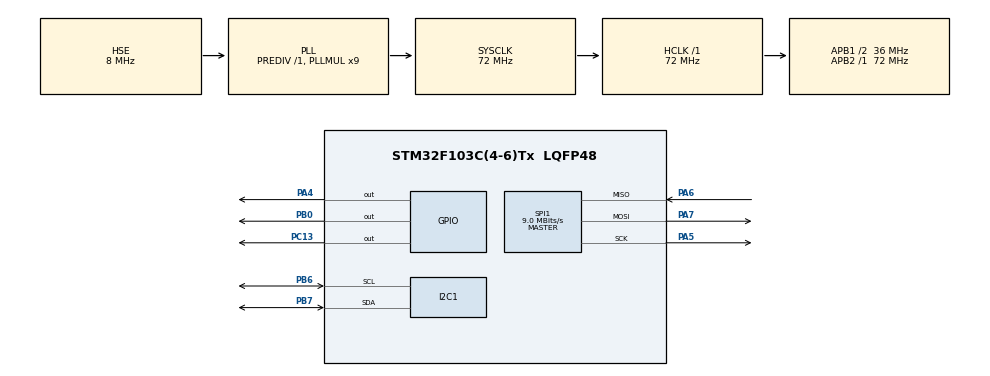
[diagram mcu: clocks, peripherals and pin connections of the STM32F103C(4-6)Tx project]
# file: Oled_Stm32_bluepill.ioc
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I2C1.I2C_Mode=I2C_Fast
Mcu.Family=STM32F1
Mcu.Name=STM32F103C(4-6)Tx
Mcu.Package=LQFP48
NVIC.PriorityGroup=NVIC_PRIORITYGROUP_4
PA13.Mode=Serial_Wire
PA13.Signal=SYS_JTMS-SWDIO
PA14.Mode=Serial_Wire
PA14.Signal=SYS_JTCK-SWCLK
PA4.Signal=GPIO_Output
PA5.Mode=Full_Duplex_Master
PA5.Signal=SPI1_SCK
PA6.Mode=Full_Duplex_Master
PA6.Signal=SPI1_MISO
PA7.Mode=Full_Duplex_Master
PA7.Signal=SPI1_MOSI
PB0.Signal=GPIO_Output
PB6.Mode=I2C
PB6.Signal=I2C1_SCL
PB7.Mode=I2C
PB7.Signal=I2C1_SDA
PC13-TAMPER-RTC.Signal=GPIO_Output
PD0-OSC_IN.Mode=HSE-External-Oscillator
PD0-OSC_IN.Signal=RCC_OSC_IN
PD1-OSC_OUT.Mode=HSE-External-Oscillator
PD1-OSC_OUT.Signal=RCC_OSC_OUT
ProjectManager.HeapSize=0x200
ProjectManager.StackSize=0x400
ProjectManager.TargetToolchain=STM32CubeIDE
RCC.AHBFreq_Value=72000000
RCC.APB1CLKDivider=RCC_HCLK_DIV2
RCC.APB1Freq_Value=36000000
RCC.APB1TimFreq_Value=72000000
RCC.APB2Freq_Value=72000000
RCC.APB2TimFreq_Value=72000000
RCC.HCLKFreq_Value=72000000
RCC.PLLMUL=RCC_PLL_MUL9
RCC.PLLSourceVirtual=RCC_PLLSOURCE_HSE
RCC.SYSCLKFreq_VALUE=72000000
RCC.SYSCLKSource=RCC_SYSCLKSOURCE_PLLCLK
RCC.USBFreq_Value=72000000
SPI1.BaudRatePrescaler=SPI_BAUDRATEPRESCALER_8
SPI1.CalculateBaudRate=9.0 MBits/s
SPI1.Direction=SPI_DIRECTION_2LINES
SPI1.Mode=SPI_MODE_MASTER
SPI1.VirtualType=VM_MASTER
board=custom

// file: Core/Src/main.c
/* USER CODE BEGIN Header */
/**
  ******************************************************************************
  * @file           : main.c
  * @brief          : Main program body
  ******************************************************************************
  * @attention
  *
  * Copyright (c) 2024 STMicroelectronics.
  * All rights reserved.
  *
  * This software is licensed under terms that can be found in the LICENSE file
  * in the root directory of this software component.
  * If no LICENSE file comes with this software, it is provided AS-IS.
  *
  ******************************************************************************
  */
/* USER CODE END Header */
#include "main.h"

/* USER CODE BEGIN Includes */
#include "rc522.h"
#include "string.h"

#include "ssd1306.h"
#include "fonts.h"
#include "stdio.h"
#include "bitmap.h"

/* USER CODE END Includes */

I2C_HandleTypeDef hi2c1;

SPI_HandleTypeDef hspi1;

/* USER CODE BEGIN PV */
uint8_t status;
uint8_t str[MAX_LEN]; // Max_LEN = 16
uint8_t sNum[5];
/* USER CODE END PV */

void SystemClock_Config(void);
static void MX_GPIO_Init(void);
static void MX_I2C1_Init(void);
static void MX_SPI1_Init(void);

int main(void)
{

  /* MCU Configuration--------------------------------------------------------*/

  /* Reset of all peripherals, Initializes the Flash interface and the Systick. */
  HAL_Init();

  /* Configure the system clock */
  SystemClock_Config();

  /* Initialize all configured peripherals */
  MX_GPIO_Init();
  MX_I2C1_Init();
  MX_SPI1_Init();
  /* USER CODE BEGIN 2 */
  	MFRC522_Init();

	SSD1306_Init (); // initialise the display
	SSD1306_GotoXY (10,10); // goto 10, 10
	SSD1306_Puts ("HELLO", &Font_11x18, 1); // print Hello
	SSD1306_GotoXY (10, 28);
	SSD1306_Puts ("Locker", &Font_11x18, 1);
	SSD1306_GotoXY (10, 45);
	SSD1306_Puts ("Allotment", &Font_11x18, 1);
    SSD1306_UpdateScreen(); // update screen
    HAL_Delay(2000);

    SSD1306_Clear();
    SSD1306_UpdateScreen(); // update screen

Label1:
    SSD1306_GotoXY (10, 10);
	SSD1306_Puts ("Scan", &Font_11x18, 1);
	SSD1306_GotoXY (10, 28);
	SSD1306_Puts ("Your", &Font_11x18, 1);
	SSD1306_GotoXY (10, 45);
	SSD1306_Puts ("Card", &Font_11x18, 1);
	SSD1306_UpdateScreen(); // update screen

//  int num = 123456; float flt = 123.45;
//  char bufnum[7]; char bufflt[7];
//  SSD1306_Init (); // initialise the display
//  sprintf (bufnum, "%d", num);
//  sprintf (bufflt, "%.2f", flt);
//  SSD1306_GotoXY (10,10); // goto 10, 10
//  SSD1306_Puts (bufnum, &Font_11x18, 1); // print Hello
//  SSD1306_GotoXY (10, 30);
//  SSD1306_Puts (bufflt, &Font_11x18, 1);
//  SSD1306_UpdateScreen(); // update screen

//  SSD1306_Init();
//  SSD1306_DrawBitmap(0, 0, logo, 128, 64, 1);
//  SSD1306_UpdateScreen(); // update screen

  /* USER CODE END 2 */

  /* Infinite loop */
  while (1)
  {

    /* USER CODE BEGIN 3 */
	  status = MFRC522_Request(PICC_REQIDL, str);
	  status = MFRC522_Anticoll(str);
	  memcpy(sNum, str, 5);
	  HAL_Delay(100);

	  if((sNum[0]==131) && (sNum[1]==49) && (sNum[2]==132) && (sNum[3]==228) && (sNum[4]==210) )
	  {
		  SSD1306_GotoXY (10, 10);
		  SSD1306_Puts ("     ", &Font_11x18, 1);
		  SSD1306_GotoXY (10, 28);
		  SSD1306_Puts ("Locker", &Font_11x18, 1);
		  SSD1306_GotoXY (10, 45);
		  SSD1306_Puts ("Alloted", &Font_11x18, 1);
		  SSD1306_UpdateScreen(); // update screen

		  HAL_GPIO_WritePin(GPIOC,GPIO_PIN_13,0);
		  HAL_Delay(2000);
		  memset(sNum, 0, sizeof(sNum));
		  memset(str, 0, sizeof(str));

		  SSD1306_Clear();
		  SSD1306_UpdateScreen(); // update screen

		  goto Label1;

	  }
	  else if((sNum[0]==147) && (sNum[1]==32) && (sNum[2]==104) && (sNum[3]==163) && (sNum[4]==124) )
	  {
		  SSD1306_GotoXY (10, 10);
		  SSD1306_Puts ("     ", &Font_11x18, 1);
		  SSD1306_GotoXY (10, 28);
		  SSD1306_Puts ("Locker", &Font_11x18, 1);
		  SSD1306_GotoXY (10, 45);
		  SSD1306_Puts ("Alloted", &Font_11x18, 1);
		  SSD1306_UpdateScreen(); // update screen

		  HAL_GPIO_WritePin(GPIOC,GPIO_PIN_13,0);
		  HAL_Delay(2000);
		  memset(sNum, 0, sizeof(sNum));
		  memset(str, 0, sizeof(str));

		  SSD1306_Clear();
		  SSD1306_UpdateScreen(); // update screen

		  goto Label1;
	  }
	  else
	  {
		HAL_GPIO_WritePin(GPIOC,GPIO_PIN_13,1);
		/*
		SSD1306_GotoXY (10, 28);
		SSD1306_Puts ("Locker", &Font_11x18, 1);
		SSD1306_GotoXY (10, 45);
		SSD1306_Puts ("NOT Alloted", &Font_11x18, 1);
		SSD1306_UpdateScreen(); // update screen	*/
	  }

  }
  /* USER CODE END 3 */
}

void SystemClock_Config(void)
{
  RCC_OscInitTypeDef RCC_OscInitStruct = {0};
  RCC_ClkInitTypeDef RCC_ClkInitStruct = {0};

  /** Initializes the RCC Oscillators according to the specified parameters
  * in the RCC_OscInitTypeDef structure.
  */
  RCC_OscInitStruct.OscillatorType = RCC_OSCILLATORTYPE_HSE;
  RCC_OscInitStruct.HSEState = RCC_HSE_ON;
  RCC_OscInitStruct.HSEPredivValue = RCC_HSE_PREDIV_DIV1;
  RCC_OscInitStruct.HSIState = RCC_HSI_ON;
  RCC_OscInitStruct.PLL.PLLState = RCC_PLL_ON;
  RCC_OscInitStruct.PLL.PLLSource = RCC_PLLSOURCE_HSE;
  RCC_OscInitStruct.PLL.PLLMUL = RCC_PLL_MUL9;
  if (HAL_RCC_OscConfig(&RCC_OscInitStruct) != HAL_OK)
  {
    Error_Handler();
  }

  /** Initializes the CPU, AHB and APB buses clocks
  */
  RCC_ClkInitStruct.ClockType = RCC_CLOCKTYPE_HCLK|RCC_CLOCKTYPE_SYSCLK
                              |RCC_CLOCKTYPE_PCLK1|RCC_CLOCKTYPE_PCLK2;
  RCC_ClkInitStruct.SYSCLKSource = RCC_SYSCLKSOURCE_PLLCLK;
  RCC_ClkInitStruct.AHBCLKDivider = RCC_SYSCLK_DIV1;
  RCC_ClkInitStruct.APB1CLKDivider = RCC_HCLK_DIV2;
  RCC_ClkInitStruct.APB2CLKDivider = RCC_HCLK_DIV1;

  if (HAL_RCC_ClockConfig(&RCC_ClkInitStruct, FLASH_LATENCY_2) != HAL_OK)
  {
    Error_Handler();
  }
}

static void MX_I2C1_Init(void)
{

  hi2c1.Instance = I2C1;
  hi2c1.Init.ClockSpeed = 400000;
  hi2c1.Init.DutyCycle = I2C_DUTYCYCLE_2;
  hi2c1.Init.OwnAddress1 = 0;
  hi2c1.Init.AddressingMode = I2C_ADDRESSINGMODE_7BIT;
  hi2c1.Init.DualAddressMode = I2C_DUALADDRESS_DISABLE;
  hi2c1.Init.OwnAddress2 = 0;
  hi2c1.Init.GeneralCallMode = I2C_GENERALCALL_DISABLE;
  hi2c1.Init.NoStretchMode = I2C_NOSTRETCH_DISABLE;
  if (HAL_I2C_Init(&hi2c1) != HAL_OK)
  {
    Error_Handler();
  }

}

static void MX_SPI1_Init(void)
{

  /* SPI1 parameter configuration*/
  hspi1.Instance = SPI1;
  hspi1.Init.Mode = SPI_MODE_MASTER;
  hspi1.Init.Direction = SPI_DIRECTION_2LINES;
  hspi1.Init.DataSize = SPI_DATASIZE_8BIT;
  hspi1.Init.CLKPolarity = SPI_POLARITY_LOW;
  hspi1.Init.CLKPhase = SPI_PHASE_1EDGE;
  hspi1.Init.NSS = SPI_NSS_SOFT;
  hspi1.Init.BaudRatePrescaler = SPI_BAUDRATEPRESCALER_8;
  hspi1.Init.FirstBit = SPI_FIRSTBIT_MSB;
  hspi1.Init.TIMode = SPI_TIMODE_DISABLE;
  hspi1.Init.CRCCalculation = SPI_CRCCALCULATION_DISABLE;
  hspi1.Init.CRCPolynomial = 10;
  if (HAL_SPI_Init(&hspi1) != HAL_OK)
  {
    Error_Handler();
  }

}

static void MX_GPIO_Init(void)
{
  GPIO_InitTypeDef GPIO_InitStruct = {0};

  /* GPIO Ports Clock Enable */
  __HAL_RCC_GPIOC_CLK_ENABLE();
  __HAL_RCC_GPIOD_CLK_ENABLE();
  __HAL_RCC_GPIOA_CLK_ENABLE();
  __HAL_RCC_GPIOB_CLK_ENABLE();

  /*Configure GPIO pin Output Level */
  HAL_GPIO_WritePin(GPIOC, GPIO_PIN_13, GPIO_PIN_RESET);

  /*Configure GPIO pin Output Level */
  HAL_GPIO_WritePin(GPIOA, GPIO_PIN_4, GPIO_PIN_RESET);

  /*Configure GPIO pin Output Level */
  HAL_GPIO_WritePin(GPIOB, GPIO_PIN_0, GPIO_PIN_RESET);

  /*Configure GPIO pin : PC13 */
  GPIO_InitStruct.Pin = GPIO_PIN_13;
  GPIO_InitStruct.Mode = GPIO_MODE_OUTPUT_PP;
  GPIO_InitStruct.Pull = GPIO_NOPULL;
  GPIO_InitStruct.Speed = GPIO_SPEED_FREQ_LOW;
  HAL_GPIO_Init(GPIOC, &GPIO_InitStruct);

  /*Configure GPIO pin : PA4 */
  GPIO_InitStruct.Pin = GPIO_PIN_4;
  GPIO_InitStruct.Mode = GPIO_MODE_OUTPUT_PP;
  GPIO_InitStruct.Pull = GPIO_NOPULL;
  GPIO_InitStruct.Speed = GPIO_SPEED_FREQ_LOW;
  HAL_GPIO_Init(GPIOA, &GPIO_InitStruct);

  /*Configure GPIO pin : PB0 */
  GPIO_InitStruct.Pin = GPIO_PIN_0;
  GPIO_InitStruct.Mode = GPIO_MODE_OUTPUT_PP;
  GPIO_InitStruct.Pull = GPIO_NOPULL;
  GPIO_InitStruct.Speed = GPIO_SPEED_FREQ_LOW;
  HAL_GPIO_Init(GPIOB, &GPIO_InitStruct);

}

void Error_Handler(void)
{
  __disable_irq();
  while (1)
  {
  }
}
